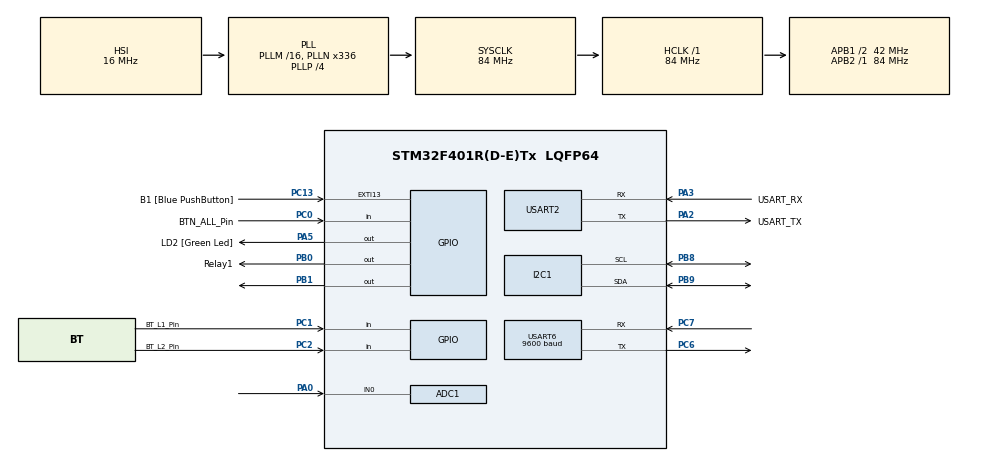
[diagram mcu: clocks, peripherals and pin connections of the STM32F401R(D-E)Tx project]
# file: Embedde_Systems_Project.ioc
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ADC1.Channel-1\#ChannelRegularConversion=ADC_CHANNEL_0
ADC1.ExternalTrigConv=ADC_EXTERNALTRIGCONV_T2_TRGO
ADC1.InjNumberOfConversion=0
ADC1.NbrOfConversion=1
ADC1.NbrOfConversionFlag=1
ADC1.Rank-1\#ChannelRegularConversion=1
ADC1.SamplingTime-1\#ChannelRegularConversion=ADC_SAMPLETIME_15CYCLES
ADC1.master=1
Mcu.Family=STM32F4
Mcu.Name=STM32F401R(D-E)Tx
Mcu.Package=LQFP64
NVIC.PriorityGroup=NVIC_PRIORITYGROUP_4
NVIC.USART2_IRQn=true\:0\:0\:false\:false\:true\:true\:true\:true
PA0-WKUP.Signal=ADCx_IN0
PA13.GPIO_Label=TMS
PA13.Mode=Trace_Asynchronous_SW
PA13.Signal=SYS_JTMS-SWDIO
PA14.GPIO_Label=TCK
PA14.Mode=Trace_Asynchronous_SW
PA14.Signal=SYS_JTCK-SWCLK
PA2.GPIO_Label=USART_TX
PA2.GPIO_Mode=GPIO_MODE_AF_PP
PA2.GPIO_PuPd=GPIO_NOPULL
PA2.GPIO_Speed=GPIO_SPEED_FREQ_LOW
PA2.Mode=Asynchronous
PA2.Signal=USART2_TX
PA3.GPIO_Label=USART_RX
PA3.GPIO_Mode=GPIO_MODE_AF_PP
PA3.GPIO_PuPd=GPIO_NOPULL
PA3.GPIO_Speed=GPIO_SPEED_FREQ_LOW
PA3.Mode=Asynchronous
PA3.Signal=USART2_RX
PA5.GPIO_Label=LD2 [Green Led]
PA5.GPIO_Mode=GPIO_MODE_OUTPUT_PP
PA5.GPIO_PuPd=GPIO_NOPULL
PA5.GPIO_Speed=GPIO_SPEED_FREQ_LOW
PA5.Signal=GPIO_Output
PB0.GPIO_Label=Relay1
PB0.Signal=GPIO_Output
PB1.Signal=GPIO_Output
PB3.GPIO_Label=SWO
PB3.Mode=Trace_Asynchronous_SW
PB3.Signal=SYS_JTDO-SWO
PB8.Mode=I2C
PB8.Signal=I2C1_SCL
PB9.Mode=I2C
PB9.Signal=I2C1_SDA
PC0.GPIO_Label=BTN_ALL_Pin
PC0.GPIO_PuPd=GPIO_PULLUP
PC0.Signal=GPIO_Input
PC1.GPIO_Label=BT_L1_Pin
PC1.GPIO_PuPd=GPIO_PULLUP
PC1.Signal=GPIO_Input
PC13-ANTI_TAMP.GPIO_Label=B1 [Blue PushButton]
PC13-ANTI_TAMP.GPIO_ModeDefaultEXTI=GPIO_MODE_IT_FALLING
PC13-ANTI_TAMP.GPIO_PuPd=GPIO_NOPULL
PC13-ANTI_TAMP.Signal=GPXTI13
PC14-OSC32_IN.Mode=LSE-External-Oscillator
PC14-OSC32_IN.Signal=RCC_OSC32_IN
PC15-OSC32_OUT.Mode=LSE-External-Oscillator
PC15-OSC32_OUT.Signal=RCC_OSC32_OUT
PC2.GPIO_Label=BT_L2_Pin
PC2.GPIO_PuPd=GPIO_PULLUP
PC2.Signal=GPIO_Input
PC6.Mode=Asynchronous
PC6.Signal=USART6_TX
PC7.Mode=Asynchronous
PC7.Signal=USART6_RX
PH0\ -\ OSC_IN.Mode=HSE-External-Clock-Source
PH0\ -\ OSC_IN.Signal=RCC_OSC_IN
PH1\ -\ OSC_OUT.Mode=HSE-External-Clock-Source
PH1\ -\ OSC_OUT.Signal=RCC_OSC_OUT
ProjectManager.HeapSize=0x200
ProjectManager.StackSize=0x400
ProjectManager.TargetToolchain=STM32CubeIDE
RCC.48MHZClocksFreq_Value=48000000
RCC.AHBFreq_Value=84000000
RCC.APB1CLKDivider=RCC_HCLK_DIV2
RCC.APB1Freq_Value=42000000
RCC.APB1TimFreq_Value=84000000
RCC.APB2Freq_Value=84000000
RCC.APB2TimFreq_Value=84000000
RCC.CortexFreq_Value=84000000
RCC.HCLKFreq_Value=84000000
RCC.HSE_VALUE=8000000
RCC.HSI_VALUE=16000000
RCC.PLLN=336
RCC.PLLP=RCC_PLLP_DIV4
RCC.PLLQ=7
RCC.SYSCLKFreq_VALUE=84000000
RCC.SYSCLKSource=RCC_SYSCLKSOURCE_PLLCLK
RCC.VCOOutputFreq_Value=336000000
SH.ADCx_IN0.0=ADC1_IN0,IN0
TIM2.AutoReloadPreload=TIM_AUTORELOAD_PRELOAD_ENABLE
TIM2.Period=1000-1
TIM2.Prescaler=84-1
TIM2.TIM_MasterOutputTrigger=TIM_TRGO_UPDATE
USART2.VirtualMode=VM_ASYNC
USART6.BaudRate=9600
USART6.VirtualMode=VM_ASYNC
VP_TIM2_VS_ClockSourceINT.Mode=Internal
board=NUCLEO-F401RE

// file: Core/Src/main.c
/* USER CODE BEGIN Header */
/**
  ******************************************************************************
  * @file           : main.c
  * @brief          : Main program body
  ******************************************************************************
  * @attention
  *
  * Copyright (c) 2025 STMicroelectronics.
  * All rights reserved.
  *
  * This software is licensed under terms that can be found in the LICENSE file
  * in the root directory of this software component.
  * If no LICENSE file comes with this software, it is provided AS-IS.
  *
  ******************************************************************************
  */
/* USER CODE END Header */
#include "main.h"
#include <stdio.h>

ADC_HandleTypeDef hadc1;

I2C_HandleTypeDef hi2c1;

TIM_HandleTypeDef htim2;

UART_HandleTypeDef huart2;
UART_HandleTypeDef huart6;

/* USER CODE BEGIN PV */

// Button state tracking: 0 = released, 1 = pressed
uint8_t btnAll_prev = 0;
uint8_t btnL1_prev  = 0;
uint8_t btnL2_prev  = 0;

// Latest ADC sample (from internal ADC1, 1 kHz via TIM2)
volatile uint16_t g_adcLatest = 0;

// Processed values
float g_current_A = 0.0f;
float g_voltage_V = 0.0f;

// Last pattern sent to LV8153 (bit0..bit7 => Y0..Y7)
uint8_t g_relayPattern = 0;

// Simple command flags (you can later drive these from ESP32/Firebase)
uint8_t g_cmdL1_on  = 0;
uint8_t g_cmdL1_off = 0;
uint8_t g_cmdL2_on  = 0;
uint8_t g_cmdL2_off = 0;

/* USER CODE END PV */

void SystemClock_Config(void);
static void MX_GPIO_Init(void);
static void MX_USART2_UART_Init(void);
static void MX_ADC1_Init(void);
static void MX_TIM2_Init(void);
static void MX_I2C1_Init(void);
static void MX_USART6_UART_Init(void);
/* USER CODE BEGIN PFP */

void SensorTask(void);
void ControlTask(void);
void UartTxTask(void);

void LV8153_WritePattern(uint8_t pattern);

/* USER CODE END PFP */

int main(void)
{

  /* MCU Configuration--------------------------------------------------------*/

  /* Reset of all peripherals, Initializes the Flash interface and the Systick. */
  HAL_Init();

  /* Configure the system clock */
  SystemClock_Config();

  /* Initialize all configured peripherals */
  MX_GPIO_Init();
  MX_USART2_UART_Init();
  MX_ADC1_Init();
  MX_TIM2_Init();
  MX_I2C1_Init();
  MX_USART6_UART_Init();
  /* USER CODE BEGIN 2 */

  // Start TIM2 base timer (1 kHz)
  HAL_TIM_Base_Start(&htim2);

  // Start ADC1 with interrupt on end-of-conversion
  HAL_ADC_Start_IT(&hadc1);

  /* USER CODE END 2 */

  /* Infinite loop */
  /* USER CODE BEGIN WHILE */
 // Simple cooperative scheduler based on HAL_GetTick()
  uint32_t tSensor = 0;
  uint32_t tControl = 0;
  uint32_t tUartTx = 0;

  while (1)
  {
      uint32_t now = HAL_GetTick();  // system time in ms

      // Run SensorTask every 10 ms
      if ((now - tSensor) >= 10)
      {
          tSensor = now;
          SensorTask();
      }

      // Run ControlTask every 20 ms
      if ((now - tControl) >= 20)
      {
          tControl = now;
          ControlTask();
      }

      // Run UartTxTask every 1000 ms (1 s)
      if ((now - tUartTx) >= 1000)
      {
          tUartTx = now;
          UartTxTask();
      }
  }

    /* USER CODE END WHILE */

}

void SystemClock_Config(void)
{
  RCC_OscInitTypeDef RCC_OscInitStruct = {0};
  RCC_ClkInitTypeDef RCC_ClkInitStruct = {0};

  /** Configure the main internal regulator output voltage
  */
  __HAL_RCC_PWR_CLK_ENABLE();
  __HAL_PWR_VOLTAGESCALING_CONFIG(PWR_REGULATOR_VOLTAGE_SCALE2);

  /** Initializes the RCC Oscillators according to the specified parameters
  * in the RCC_OscInitTypeDef structure.
  */
  RCC_OscInitStruct.OscillatorType = RCC_OSCILLATORTYPE_HSI;
  RCC_OscInitStruct.HSIState = RCC_HSI_ON;
  RCC_OscInitStruct.HSICalibrationValue = RCC_HSICALIBRATION_DEFAULT;
  RCC_OscInitStruct.PLL.PLLState = RCC_PLL_ON;
  RCC_OscInitStruct.PLL.PLLSource = RCC_PLLSOURCE_HSI;
  RCC_OscInitStruct.PLL.PLLM = 16;
  RCC_OscInitStruct.PLL.PLLN = 336;
  RCC_OscInitStruct.PLL.PLLP = RCC_PLLP_DIV4;
  RCC_OscInitStruct.PLL.PLLQ = 7;
  if (HAL_RCC_OscConfig(&RCC_OscInitStruct) != HAL_OK)
  {
    Error_Handler();
  }

  /** Initializes the CPU, AHB and APB buses clocks
  */
  RCC_ClkInitStruct.ClockType = RCC_CLOCKTYPE_HCLK|RCC_CLOCKTYPE_SYSCLK
                              |RCC_CLOCKTYPE_PCLK1|RCC_CLOCKTYPE_PCLK2;
  RCC_ClkInitStruct.SYSCLKSource = RCC_SYSCLKSOURCE_PLLCLK;
  RCC_ClkInitStruct.AHBCLKDivider = RCC_SYSCLK_DIV1;
  RCC_ClkInitStruct.APB1CLKDivider = RCC_HCLK_DIV2;
  RCC_ClkInitStruct.APB2CLKDivider = RCC_HCLK_DIV1;

  if (HAL_RCC_ClockConfig(&RCC_ClkInitStruct, FLASH_LATENCY_2) != HAL_OK)
  {
    Error_Handler();
  }
}

static void MX_ADC1_Init(void)
{

  ADC_ChannelConfTypeDef sConfig = {0};

  /** Configure the global features of the ADC (Clock, Resolution, Data Alignment and number of conversion)
  */
  hadc1.Instance = ADC1;
  hadc1.Init.ClockPrescaler = ADC_CLOCK_SYNC_PCLK_DIV4;
  hadc1.Init.Resolution = ADC_RESOLUTION_12B;
  hadc1.Init.ScanConvMode = DISABLE;
  hadc1.Init.ContinuousConvMode = DISABLE;
  hadc1.Init.DiscontinuousConvMode = DISABLE;
  hadc1.Init.ExternalTrigConvEdge = ADC_EXTERNALTRIGCONVEDGE_RISING;
  hadc1.Init.ExternalTrigConv = ADC_EXTERNALTRIGCONV_T2_TRGO;
  hadc1.Init.DataAlign = ADC_DATAALIGN_RIGHT;
  hadc1.Init.NbrOfConversion = 1;
  hadc1.Init.DMAContinuousRequests = DISABLE;
  hadc1.Init.EOCSelection = ADC_EOC_SINGLE_CONV;
  if (HAL_ADC_Init(&hadc1) != HAL_OK)
  {
    Error_Handler();
  }

  /** Configure for the selected ADC regular channel its corresponding rank in the sequencer and its sample time.
  */
  sConfig.Channel = ADC_CHANNEL_0;
  sConfig.Rank = 1;
  sConfig.SamplingTime = ADC_SAMPLETIME_15CYCLES;
  if (HAL_ADC_ConfigChannel(&hadc1, &sConfig) != HAL_OK)
  {
    Error_Handler();
  }

}

static void MX_I2C1_Init(void)
{

  hi2c1.Instance = I2C1;
  hi2c1.Init.ClockSpeed = 100000;
  hi2c1.Init.DutyCycle = I2C_DUTYCYCLE_2;
  hi2c1.Init.OwnAddress1 = 0;
  hi2c1.Init.AddressingMode = I2C_ADDRESSINGMODE_7BIT;
  hi2c1.Init.DualAddressMode = I2C_DUALADDRESS_DISABLE;
  hi2c1.Init.OwnAddress2 = 0;
  hi2c1.Init.GeneralCallMode = I2C_GENERALCALL_DISABLE;
  hi2c1.Init.NoStretchMode = I2C_NOSTRETCH_DISABLE;
  if (HAL_I2C_Init(&hi2c1) != HAL_OK)
  {
    Error_Handler();
  }

}

static void MX_TIM2_Init(void)
{

  TIM_ClockConfigTypeDef sClockSourceConfig = {0};
  TIM_MasterConfigTypeDef sMasterConfig = {0};

  htim2.Instance = TIM2;
  htim2.Init.Prescaler = 84-1;
  htim2.Init.CounterMode = TIM_COUNTERMODE_UP;
  htim2.Init.Period = 1000-1;
  htim2.Init.ClockDivision = TIM_CLOCKDIVISION_DIV1;
  htim2.Init.AutoReloadPreload = TIM_AUTORELOAD_PRELOAD_ENABLE;
  if (HAL_TIM_Base_Init(&htim2) != HAL_OK)
  {
    Error_Handler();
  }
  sClockSourceConfig.ClockSource = TIM_CLOCKSOURCE_INTERNAL;
  if (HAL_TIM_ConfigClockSource(&htim2, &sClockSourceConfig) != HAL_OK)
  {
    Error_Handler();
  }
  sMasterConfig.MasterOutputTrigger = TIM_TRGO_UPDATE;
  sMasterConfig.MasterSlaveMode = TIM_MASTERSLAVEMODE_DISABLE;
  if (HAL_TIMEx_MasterConfigSynchronization(&htim2, &sMasterConfig) != HAL_OK)
  {
    Error_Handler();
  }

}

static void MX_USART2_UART_Init(void)
{

  huart2.Instance = USART2;
  huart2.Init.BaudRate = 115200;
  huart2.Init.WordLength = UART_WORDLENGTH_8B;
  huart2.Init.StopBits = UART_STOPBITS_1;
  huart2.Init.Parity = UART_PARITY_NONE;
  huart2.Init.Mode = UART_MODE_TX_RX;
  huart2.Init.HwFlowCtl = UART_HWCONTROL_NONE;
  huart2.Init.OverSampling = UART_OVERSAMPLING_16;
  if (HAL_UART_Init(&huart2) != HAL_OK)
  {
    Error_Handler();
  }

}

static void MX_USART6_UART_Init(void)
{

  huart6.Instance = USART6;
  huart6.Init.BaudRate = 9600;
  huart6.Init.WordLength = UART_WORDLENGTH_8B;
  huart6.Init.StopBits = UART_STOPBITS_1;
  huart6.Init.Parity = UART_PARITY_NONE;
  huart6.Init.Mode = UART_MODE_TX_RX;
  huart6.Init.HwFlowCtl = UART_HWCONTROL_NONE;
  huart6.Init.OverSampling = UART_OVERSAMPLING_16;
  if (HAL_UART_Init(&huart6) != HAL_OK)
  {
    Error_Handler();
  }

}

static void MX_GPIO_Init(void)
{
  GPIO_InitTypeDef GPIO_InitStruct = {0};

  /* GPIO Ports Clock Enable */
  __HAL_RCC_GPIOC_CLK_ENABLE();
  __HAL_RCC_GPIOH_CLK_ENABLE();
  __HAL_RCC_GPIOA_CLK_ENABLE();
  __HAL_RCC_GPIOB_CLK_ENABLE();

  /*Configure GPIO pin Output Level */
  HAL_GPIO_WritePin(LD2_GPIO_Port, LD2_Pin, GPIO_PIN_RESET);

  /*Configure GPIO pin Output Level */
  HAL_GPIO_WritePin(GPIOB, GPIO_PIN_0|GPIO_PIN_1, GPIO_PIN_RESET);

  /*Configure GPIO pin : B1_Pin */
  GPIO_InitStruct.Pin = B1_Pin;
  GPIO_InitStruct.Mode = GPIO_MODE_IT_FALLING;
  GPIO_InitStruct.Pull = GPIO_NOPULL;
  HAL_GPIO_Init(B1_GPIO_Port, &GPIO_InitStruct);

  /*Configure GPIO pin : LD2_Pin */
  GPIO_InitStruct.Pin = LD2_Pin;
  GPIO_InitStruct.Mode = GPIO_MODE_OUTPUT_PP;
  GPIO_InitStruct.Pull = GPIO_NOPULL;
  GPIO_InitStruct.Speed = GPIO_SPEED_FREQ_LOW;
  HAL_GPIO_Init(LD2_GPIO_Port, &GPIO_InitStruct);

  /*Configure GPIO pins : PB0 PB1 */
  GPIO_InitStruct.Pin = GPIO_PIN_0|GPIO_PIN_1;
  GPIO_InitStruct.Mode = GPIO_MODE_OUTPUT_PP;
  GPIO_InitStruct.Pull = GPIO_NOPULL;
  GPIO_InitStruct.Speed = GPIO_SPEED_FREQ_LOW;
  HAL_GPIO_Init(GPIOB, &GPIO_InitStruct);

}

/* USER CODE BEGIN 4 */

#define RELAY_PORT GPIOB
#define RELAY_PIN  GPIO_PIN_0

void Relay_On(void)
{
    HAL_GPIO_WritePin(RELAY_PORT, RELAY_PIN, GPIO_PIN_SET);
}

void Relay_Off(void)
{
    HAL_GPIO_WritePin(RELAY_PORT, RELAY_PIN, GPIO_PIN_RESET);
}

// Returns 1 once when button transitions from released -> pressed
static uint8_t ButtonPressed(GPIO_TypeDef *port, uint16_t pin, uint8_t *prevState)
{
    // Active-low: 0 = pressed, 1 = released
    uint8_t raw = (HAL_GPIO_ReadPin(port, pin) == GPIO_PIN_RESET) ? 1 : 0;

    uint8_t event = 0;
    if (raw && !(*prevState)) {
        // Rising edge of "pressed"
        event = 1;
    }
    *prevState = raw;
    return event;
}

// Send 1 byte to SN74LV8153 (serial-to-parallel)
// This UART TX must be wired to the "DataIn" pin of your LV8153 board.
void LV8153_WritePattern(uint8_t pattern)
{
    HAL_UART_Transmit(&huart6, &pattern, 1, 10); // USART6 @ 9600 baud
}

// 1) SensorTask: process ADC sample into voltage/current
void SensorTask(void)
{
    // 12-bit ADC, Vref = 3.3 V
    float v_adc = (3.3f * (float)g_adcLatest) / 4095.0f;
    g_voltage_V = v_adc;

    // Example for ACS712 20A with mid-point at 1.65 V and ~100 mV/A
    // Adjust these constants from calibration
    float v_offset = 1.65f;       // zero-current point
    float sensitivity = 0.1f;     // V per A (example)
    float delta_v = v_adc - v_offset;
    g_current_A = delta_v / sensitivity;
}

// 2) ControlTask: decide which loads to turn ON/OFF and send pattern to LV8153
void ControlTask(void)
{
	// Toggle the green LED every time ControlTask runs

    // 1) Handle local button presses (manual control)
    if (ButtonPressed(BTN_ALL_GPIO_Port, BTN_ALL_Pin, &btnAll_prev)) {
        // Manual "return them all on"
        g_cmdL1_on  = 1;
        g_cmdL2_on  = 1;
        // You could also clear any "off" flags if you use them
        g_cmdL1_off = 0;
        g_cmdL2_off = 0;
    }

    if (ButtonPressed(BTN_L1_GPIO_Port, BTN_L1_Pin, &btnL1_prev)) {
        // Manual "turn ON load 1"
        g_cmdL1_on  = 1;
        g_cmdL1_off = 0;
    }

    if (ButtonPressed(BTN_L2_GPIO_Port, BTN_L2_Pin, &btnL2_prev)) {
        // Manual "turn ON load 2"
        g_cmdL2_on  = 1;
        g_cmdL2_off = 0;
    }

    // 2) Existing logic to apply commands to relay

    static uint8_t relayState_L1 = 0;
    static uint8_t relayState_L2 = 0;

    // Apply commands for L1
    if (g_cmdL1_on) {
        relayState_L1 = 1;
        g_cmdL1_on = 0;
    }
    if (g_cmdL1_off) {
        relayState_L1 = 0;
        g_cmdL1_off = 0;
    }

    // Apply commands for L2
    if (g_cmdL2_on) {
        relayState_L2 = 1;
        g_cmdL2_on = 0;
    }
    if (g_cmdL2_off) {
        relayState_L2 = 0;
        g_cmdL2_off = 0;
    }

    // 3) Drive the physical relay outputs
    // For now: one SPDT relay controlled by L1; if you have 2 relays, use PB0 + PB1
    if (relayState_L1) {
        Relay_On();   // or HAL_GPIO_WritePin(...)
    } else {
        Relay_Off();
    }

}

// 3) UartTxTask: send data to ESP32 as JSON once per second
void UartTxTask(void)
{
    char buf[128];

    // For now, just send current, voltage, and relay pattern
    int len = snprintf(buf, sizeof(buf),
        "{\"I\":%.3f,\"V\":%.3f,\"R\":%u}\n",
        g_current_A, g_voltage_V, g_relayPattern);

    if (len > 0)
    {
        HAL_UART_Transmit(&huart2, (uint8_t *)buf, (uint16_t)len, 50);
    }
}

/* USER CODE END 4 */

void Error_Handler(void)
{
  __disable_irq();
  while (1)
  {
  }
}
